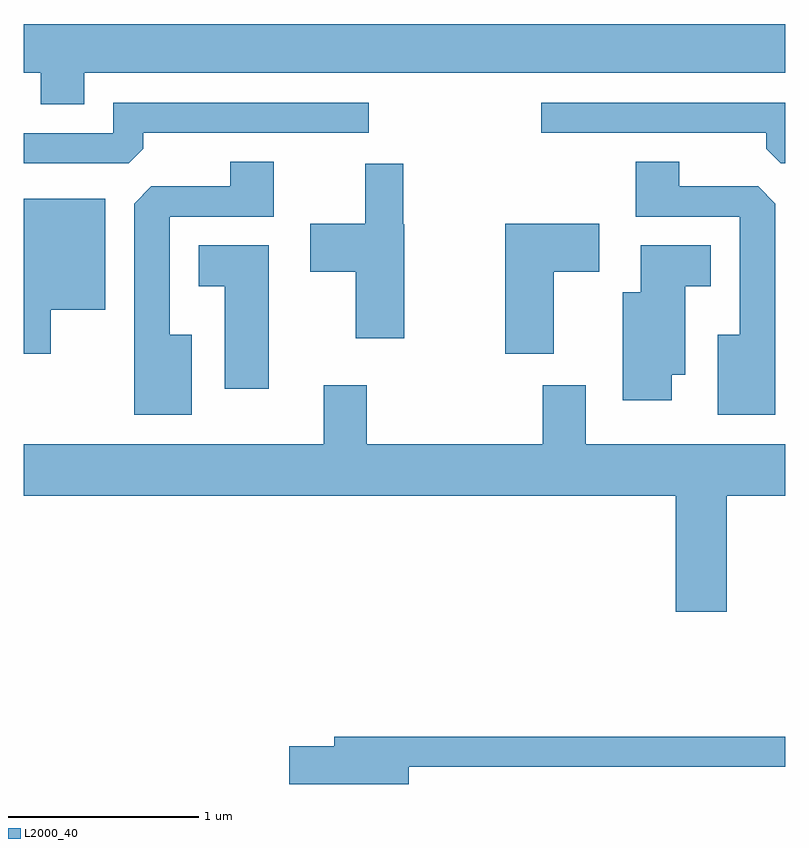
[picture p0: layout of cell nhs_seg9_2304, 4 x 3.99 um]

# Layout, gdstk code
import gdstk
lib = gdstk.Library(unit=1e-6, precision=1e-09)
def P(c, l, *ps):  # polygons
    for p in ps: c.add(gdstk.Polygon(p, *l))
L2000_40 = (2000, 40)

nhs_seg9_2304 = lib.new_cell('nhs_seg9_2304')
P(nhs_seg9_2304, L2000_40, [(251.929,2076.176),(255.611,2076.176),(255.611,2076.432),(251.611,2076.432),(251.611,2076.176),(251.701,2076.176),(251.701,2076.011),(251.929,2076.011)],
  [(252.239,2075.777),(252.239,2075.861),(253.423,2075.861),(253.423,2076.019),(252.081,2076.019),(252.081,2075.859),(251.611,2075.859),(251.611,2075.701),(252.164,2075.701)],
  [(255.611,2076.019),(254.328,2076.019),(254.328,2075.861),(255.511,2075.861),(255.511,2075.777),(255.587,2075.701),(255.611,2075.701)],
  [(252.494,2074.799),(252.379,2074.799),(252.379,2075.421),(252.924,2075.421),(252.924,2075.709),(252.696,2075.709),(252.696,2075.579),(252.282,2075.579),(252.191,2075.489),(252.191,2074.381),(252.494,2074.381)],
  [(255.559,2075.489),(255.469,2075.579),(255.054,2075.579),(255.054,2075.709),(254.826,2075.709),(254.826,2075.421),(255.371,2075.421),(255.371,2074.799),(255.256,2074.799),(255.256,2074.381),(255.559,2074.381)],
  [(253.609,2075.38),(253.604,2075.38),(253.604,2075.699),(253.406,2075.699),(253.406,2075.384),(253.116,2075.384),(253.116,2075.131),(253.356,2075.131),(253.356,2074.781),(253.609,2074.781)],
  [(251.754,2074.931),(252.039,2074.931),(252.039,2075.514),(251.611,2075.514),(251.611,2074.701),(251.754,2074.701)],
  [(254.394,2075.131),(254.634,2075.131),(254.634,2075.384),(254.141,2075.384),(254.141,2074.701),(254.394,2074.701)],
  [(252.899,2075.269),(252.531,2075.269),(252.531,2075.056),(252.666,2075.056),(252.666,2074.516),(252.899,2074.516)],
  [(255.014,2074.591),(255.084,2074.591),(255.084,2075.056),(255.219,2075.056),(255.219,2075.269),(254.851,2075.269),(254.851,2075.024),(254.756,2075.024),(254.756,2074.456),(255.014,2074.456)],
  [(255.304,2073.956),(255.611,2073.956),(255.611,2074.224),(254.564,2074.224),(254.564,2074.534),(254.336,2074.534),(254.336,2074.224),(253.414,2074.224),(253.414,2074.534),(253.186,2074.534),(253.186,2074.224),(251.611,2074.224),(251.611,2073.956),(255.036,2073.956),(255.036,2073.346),(255.304,2073.346)],
  [(253.634,2072.531),(255.611,2072.531),(255.611,2072.689),(253.241,2072.689),(253.241,2072.639),(253.006,2072.639),(253.006,2072.441),(253.634,2072.441)])

lib.write_gds('nhs_seg9_2304.gds')
